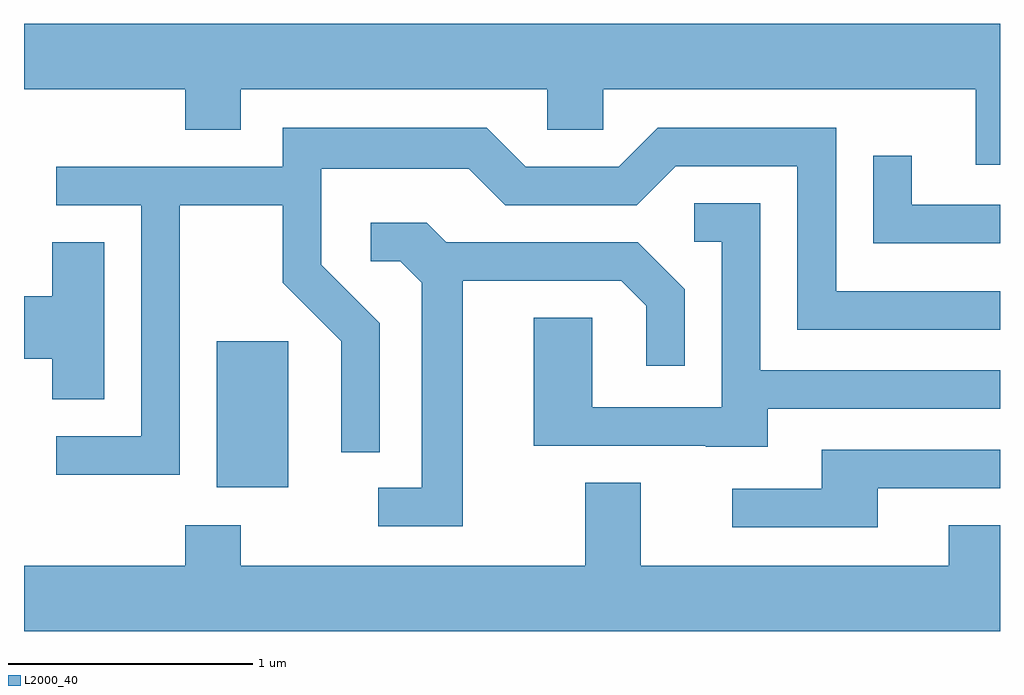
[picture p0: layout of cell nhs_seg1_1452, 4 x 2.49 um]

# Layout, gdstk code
import gdstk
lib = gdstk.Library(unit=1e-6, precision=1e-09)
def R(c, l, rs):  # rectangles x0, y0, x1, y1
    for r in rs: c.add(gdstk.rectangle(r[:2], r[2:], *l))
def P(c, l, *ps):  # polygons
    for p in ps: c.add(gdstk.Polygon(p, *l))
L2000_40 = (2000, 40)

nhs_seg1_1452 = lib.new_cell('nhs_seg1_1452')
R(nhs_seg1_1452, L2000_40, [(230.401,922.366,230.694,922.964)])
P(nhs_seg1_1452, L2000_40, [(233.611,924.264),(229.611,924.264),(229.611,923.996),(230.271,923.996),(230.271,923.831),(230.499,923.831),(230.499,923.996),(231.756,923.996),(231.756,923.831),(231.984,923.831),(231.984,923.996),(233.511,923.996),(233.511,923.686),(233.611,923.686)],
  [(230.249,923.521),(230.671,923.521),(230.671,923.204),(230.911,922.964),(230.911,922.508),(231.069,922.508),(231.069,923.037),(230.829,923.277),(230.829,923.671),(231.434,923.671),(231.584,923.521),(232.122,923.521),(232.282,923.681),(232.781,923.681),(232.781,923.011),(233.611,923.011),(233.611,923.169),(232.939,923.169),(232.939,923.839),(232.209,923.839),(232.049,923.679),(231.667,923.679),(231.507,923.839),(230.671,923.839),(230.671,923.679),(229.743,923.679),(229.743,923.521),(230.091,923.521),(230.091,922.574),(229.743,922.574),(229.743,922.416),(230.249,922.416)],
  [(233.611,923.524),(233.249,923.524),(233.249,923.723),(233.091,923.723),(233.091,923.366),(233.611,923.366)],
  [(232.659,922.686),(233.611,922.686),(233.611,922.844),(232.629,922.844),(232.629,923.529),(232.358,923.529),(232.358,923.371),(232.471,923.371),(232.471,922.694),(231.939,922.694),(231.939,923.059),(231.701,923.059),(231.701,922.536),(232.405,922.536),(232.405,922.531),(232.659,922.531)],
  [(231.409,923.211),(232.059,923.211),(232.161,923.109),(232.161,922.863),(232.319,922.863),(232.319,923.177),(232.127,923.369),(231.342,923.369),(231.262,923.449),(231.033,923.449),(231.033,923.291),(231.154,923.291),(231.241,923.204),(231.241,922.364),(231.063,922.364),(231.063,922.206),(231.409,922.206)],
  [(229.939,923.369),(229.726,923.369),(229.726,923.149),(229.611,923.149),(229.611,922.891),(229.726,922.891),(229.726,922.726),(229.939,922.726)],
  [(233.109,922.361),(233.611,922.361),(233.611,922.519),(232.881,922.519),(232.881,922.359),(232.513,922.359),(232.513,922.201),(233.109,922.201)],
  [(233.611,922.209),(233.401,922.209),(233.401,922.044),(232.139,922.044),(232.139,922.384),(231.911,922.384),(231.911,922.044),(230.499,922.044),(230.499,922.209),(230.271,922.209),(230.271,922.044),(229.611,922.044),(229.611,921.776),(233.611,921.776)])

lib.write_gds('nhs_seg1_1452.gds')
